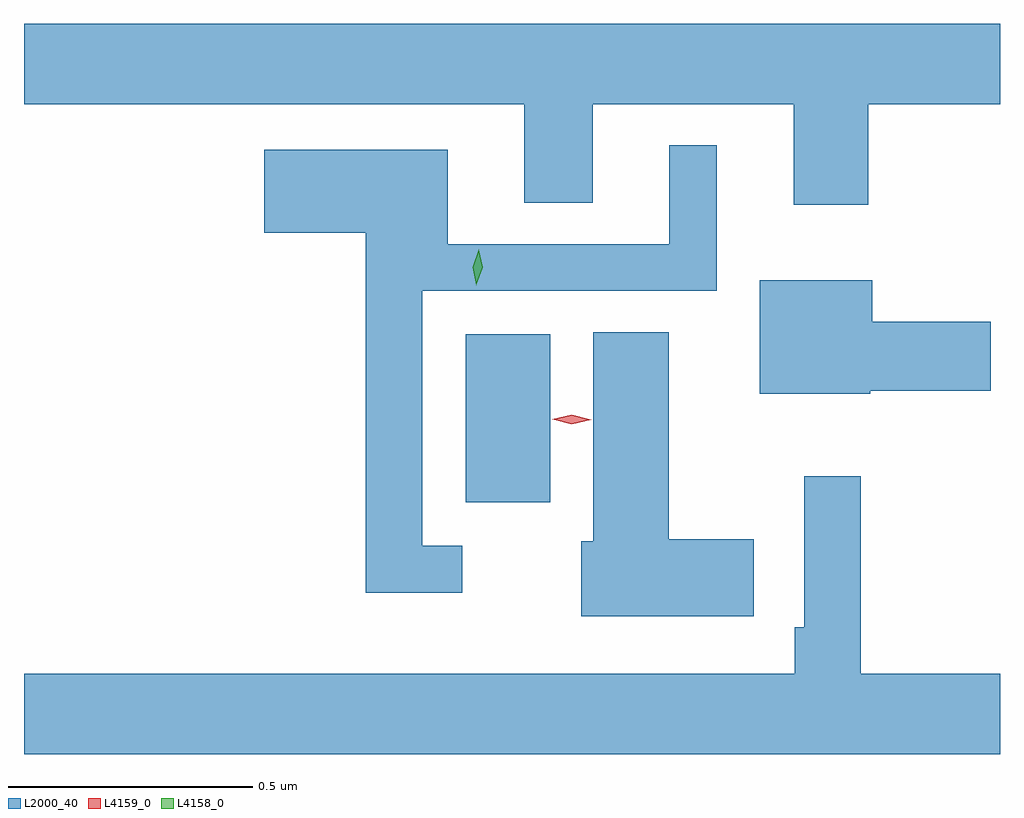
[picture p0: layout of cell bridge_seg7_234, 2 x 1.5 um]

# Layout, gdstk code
import gdstk
lib = gdstk.Library(unit=1e-6, precision=1e-09)
def R(c, l, rs):  # rectangles x0, y0, x1, y1
    for r in rs: c.add(gdstk.rectangle(r[:2], r[2:], *l))
def P(c, l, *ps):  # polygons
    for p in ps: c.add(gdstk.Polygon(p, *l))
L2000_40 = (2000, 40)
L4158_0 = (4158, 0)
L4159_0 = (4159, 0)

bridge_seg7_234 = lib.new_cell('bridge_seg7_234')
R(bridge_seg7_234, L2000_40, [(283.427,1079.72,283.6,1080.064)])
P(bridge_seg7_234, L2000_40, [(284.252,1080.536),(284.522,1080.536),(284.522,1080.7),(282.522,1080.7),(282.522,1080.536),(283.547,1080.536),(283.547,1080.334),(283.687,1080.334),(283.687,1080.536),(284.099,1080.536),(284.099,1080.33),(284.252,1080.33)],
  [(283.42,1079.631),(283.338,1079.631),(283.338,1080.153),(283.942,1080.153),(283.942,1080.451),(283.844,1080.451),(283.844,1080.249),(283.39,1080.249),(283.39,1080.442),(283.014,1080.442),(283.014,1080.272),(283.222,1080.272),(283.222,1079.534),(283.42,1079.534)],
  [(284.256,1079.948),(284.503,1079.948),(284.503,1080.09),(284.26,1080.09),(284.26,1080.175),(284.03,1080.175),(284.03,1079.942),(284.256,1079.942)],
  [(284.017,1079.644),(283.843,1079.644),(283.843,1080.068),(283.688,1080.068),(283.688,1079.64),(283.664,1079.64),(283.664,1079.486),(284.017,1079.486)],
  [(284.522,1079.368),(284.237,1079.368),(284.237,1079.773),(284.121,1079.773),(284.121,1079.464),(284.101,1079.464),(284.101,1079.368),(282.522,1079.368),(282.522,1079.204),(284.522,1079.204)])
P(bridge_seg7_234, L4158_0, [(283.449,1080.165),(283.449,1080.166),(283.442,1080.202),(283.454,1080.237),(283.454,1080.238),(283.454,1080.237),(283.462,1080.201),(283.449,1080.166)])
P(bridge_seg7_234, L4159_0, [(283.644,1079.88),(283.604,1079.89),(283.603,1079.89),(283.604,1079.89),(283.644,1079.899),(283.684,1079.889),(283.684,1079.889),(283.684,1079.889)])

lib.write_gds('bridge_seg7_234.gds')
